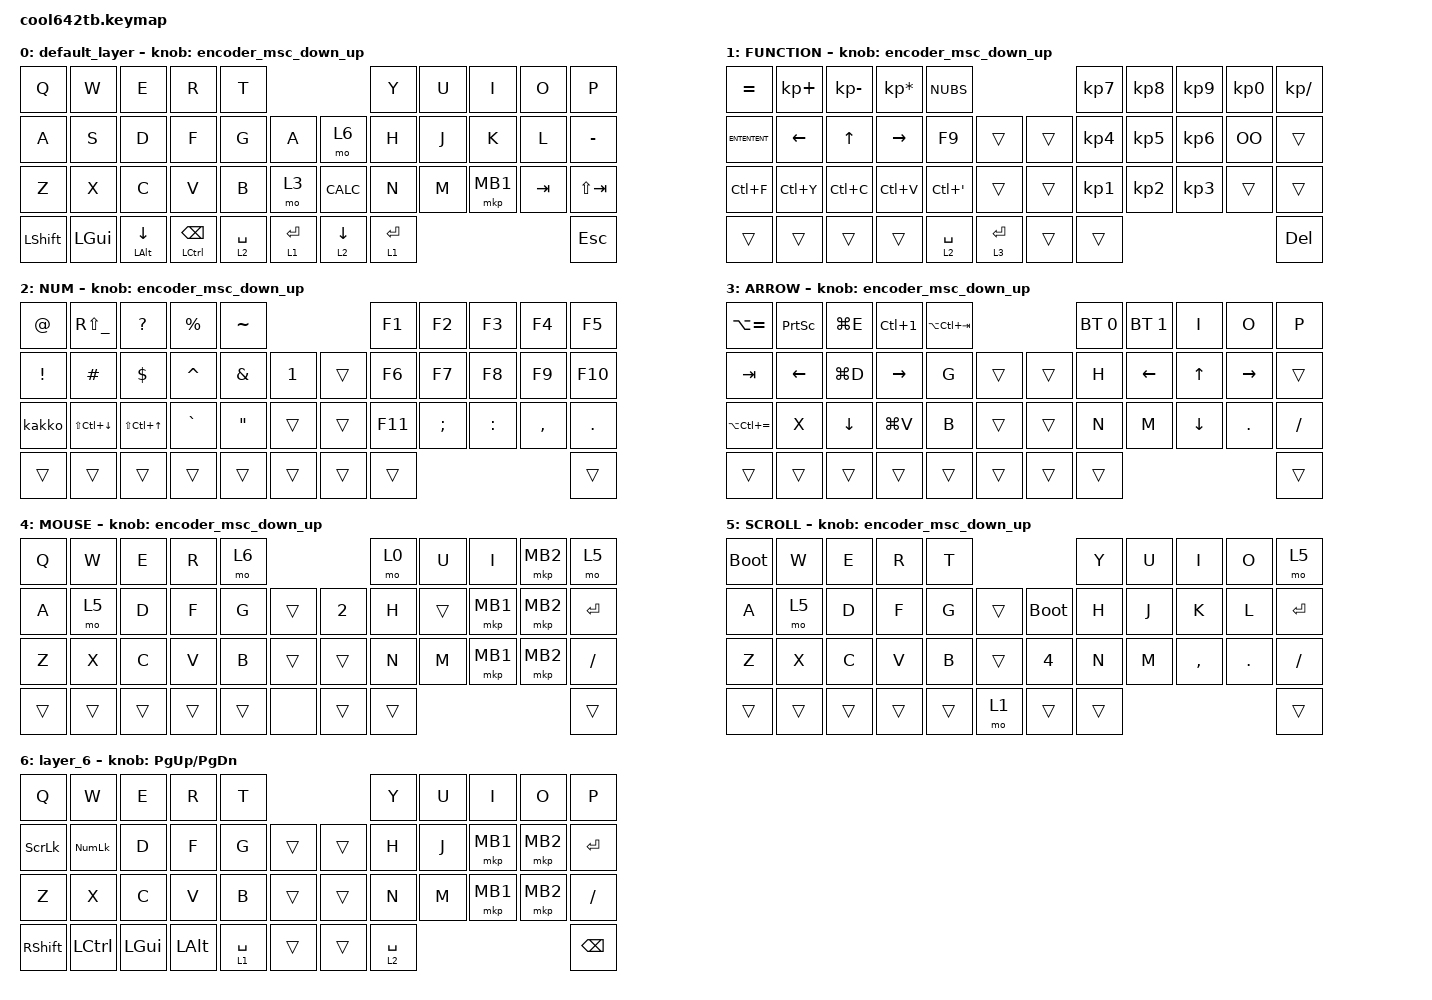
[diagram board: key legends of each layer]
#include <behaviors.dtsi>
#include <dt-bindings/zmk/bt.h>
#include <dt-bindings/zmk/keys.h>
#include <dt-bindings/zmk/pointing.h>

// #includeのあとのあたりにスクロール量変更の定義を追記

#define ZMK_POINTING_DEFAULT_SCRL_VAL 80
#define ZMK_MOUSE_DEFAULT_SCRL_VAL 100
#define MOUSE 4
#define SCROLL 5
#define NUM 6

&mt {
    flavor = "balanced";
    quick-tap-ms = <0>;
};

/ {
    combos {
        compatible = "zmk,combos";

        comb1 {
            bindings = <&kp LS(ESCAPE)>;
            key-positions = <0 1>;
        };

        comb2 {
            bindings = <&kp BACKSPACE>;
            key-positions = <18 7>;
        };

        comb3 {
            bindings = <&kp CAPS>;
            key-positions = <13 14>;
        };

        comb4 {
            bindings = <&kp LA(GRAVE)>;
            key-positions = <3 4>;
        };

        com5 {
            bindings = <&to 1>;
            key-positions = <5 6>;
            slow-release;
            layers = <0>;
        };

        comb6 {
            bindings = <&to 0>;
            key-positions = <5 6>;
            slow-release;
            layers = <1>;
        };

        combo6 {
            bindings = <&kp F2>;
            key-positions = <19 8>;
        };

        combo7 {
            bindings = <&CTHOME>;
            key-positions = <8 9>;
        };

        combo8 {
            bindings = <&CTEND>;
            key-positions = <32 33>;
        };

        combo9 {
            bindings = <&kp DEL>;
            key-positions = <1 2>;
        };

        ASD {
            bindings = <&kp TAB>;
            key-positions = <13 12>;
        };

        TAB2 {
            bindings = <&kp LS(TAB)>;
            key-positions = <18 19>;
        };
    };

    macros {
        to_layer_0: to_layer_0 {
            compatible = "zmk,behavior-macro-one-param";
            #binding-cells = <1>;
            bindings = <&to 0 &macro_param_1to1 &kp MACRO_PLACEHOLDER>;
            label = "TO_LAYER_0";
        };

        ret_kp: ret_kp {
            compatible = "zmk,behavior-macro-one-param";
            #binding-cells = <1>;
            bindings =
                <&to 0 &macro_param_1to1>,
                <&macro_press>,
                <&kp MACRO_PLACEHOLDER>,
                <&macro_pause_for_release>,
                <&macro_param_1to1>,
                <&macro_release>,
                <&kp MACRO_PLACEHOLDER>;

            label = "RET_KP";
        };

        ENTENT: ENTENT {
            compatible = "zmk,behavior-macro";
            #binding-cells = <0>;
            bindings = <&kp ENTER &kp ENTER &kp ENTER &kp ENTER &kp ENTER &kp ENTER>;
            label = "ENTENT";
        };

        OO: OO {
            compatible = "zmk,behavior-macro";
            #binding-cells = <0>;
            bindings = <&kp KP_NUMBER_0 &kp KP_NUMBER_0>;
            label = "OO";
        };

        DBC: new_macro {
            compatible = "zmk,behavior-macro";
            #binding-cells = <0>;
            bindings = <&mkp MB1>, <&macro_wait_time 100>, <&mkp MB1>;

            label = "NEW_MACRO";
        };

        PAV: PAV {
            compatible = "zmk,behavior-macro";
            #binding-cells = <0>;
            bindings = <&kp LA(LC(V)) &kp V &kp ENTER>;
            label = "PAV";
        };

        kakko: kakko {
            compatible = "zmk,behavior-macro";
            #binding-cells = <0>;
            bindings = <&kp LEFT_PARENTHESIS &kp RIGHT_PARENTHESIS &kp LEFT>;
            label = "KAKKO";
        };

        DQ: DQ {
            compatible = "zmk,behavior-macro";
            #binding-cells = <0>;
            bindings = <&kp DOUBLE_QUOTES &kp DOUBLE_QUOTES &kp LEFT>;
            label = "DQ";
        };

        CTHOME: CTHOME {
            compatible = "zmk,behavior-macro";
            #binding-cells = <0>;
            bindings = <&kp LC(HOME)>;
            label = "CTHOME";
        };

        CTEND: CTEND {
            compatible = "zmk,behavior-macro";
            #binding-cells = <0>;
            bindings = <&kp LC(END)>;
            label = "CTEND";
        };

        ENTENTENT: ENTENTENT {
            compatible = "zmk,behavior-macro";
            #binding-cells = <0>;
            bindings = <&kp ENTER &kp ENTER &kp ENTER &kp ENTER &kp ENTER &kp ENTER &kp ENTER>;
            label = "ENTENTENT";
        };

        CALC: CALC {
            compatible = "zmk,behavior-macro";
            #binding-cells = <0>;
            bindings = <&kp LG(NUMBER_1)>;
            label = "CALC";
        };

        SUM: SUM {
            compatible = "zmk,behavior-macro";
            #binding-cells = <0>;
            bindings = <&kp LA(S) &kp U &kp M>;
            label = "SUM";
        };

        ctrlvv: ctrlvv {
            compatible = "zmk,behavior-macro";
            #binding-cells = <0>;
            bindings = <&kp LA(LC(V)) &kp V &kp ENTER>;
            label = "CTRLVV";
        };
    };

    behaviors {
        lt_to_layer_0: lt_to_layer_0 {
            compatible = "zmk,behavior-hold-tap";
            label = "LAYER_TAP_TO_0";
            bindings = <&mo>, <&to_layer_0>;

            #binding-cells = <2>;
            tapping-term-ms = <200>;
        };

        encoder_msc_down_up: encoder_msc_down_up {
            compatible = "zmk,behavior-sensor-rotate";
            label = "ENCODER_MSC_DOWN_UP";
            #sensor-binding-cells = <0>;
            bindings = <&msc SCRL_UP>, <&msc SCRL_DOWN>;

            // カンマで区切る

            tap-ms = <20>;
        };
    };

    keymap {
        compatible = "zmk,keymap";

        default_layer {
            bindings = <
&kp Q      &kp W         &kp E              &kp R                       &kp T                                 &kp Y        &kp U  &kp I     &kp O    &kp P
&kp A      &kp S         &kp D              &kp F                       &kp G        &kp A        &mo 6       &kp H        &kp J  &kp K     &kp L    &kp MINUS
&kp Z      &kp X         &kp C              &kp V                       &kp B        &mo 3        &CALC       &kp N        &kp M  &mkp MB1  &kp TAB  &kp LS(TAB)
&kp LSHFT  &kp LEFT_GUI  &mt LEFT_ALT DOWN  &mt LEFT_CONTROL BACKSPACE  &lt 2 SPACE  &lt 1 ENTER  &lt 2 DOWN  &lt 1 ENTER                            &kp ESCAPE
            >;

            sensor-bindings = <&encoder_msc_down_up>;
        };

        FUNCTION {
            bindings = <
&kp EQUAL   &kp KP_PLUS  &kp KP_MINUS  &kp KP_ASTERISK  &kp NUBS                                   &kp KP_NUMBER_7  &kp KP_NUMBER_8  &kp KP_NUMBER_9  &kp KP_NUMBER_0  &kp KP_SLASH
&ENTENTENT  &kp LEFT     &kp UP_ARROW  &kp RIGHT        &kp F9                &trans       &trans  &kp KP_NUMBER_4  &kp KP_NUMBER_5  &kp KP_NUMBER_6  &OO              &trans
&kp LC(F)   &kp LC(Y)    &kp LC(C)     &kp LC(V)        &kp LC(SINGLE_QUOTE)  &trans       &trans  &kp KP_NUMBER_1  &kp KP_NUMBER_2  &kp KP_NUMBER_3  &trans           &trans
&trans      &trans       &trans        &trans           &lt 2 SPACE           &lt 3 ENTER  &trans  &trans                                                              &kp DELETE
            >;

            sensor-bindings = <&encoder_msc_down_up>;
        };

        NUM {
            bindings = <
&kp AT    &kp RS(UNDER)     &kp QUESTION          &kp PERCENT  &kp TILDE                          &kp F1   &kp F2    &kp F3     &kp F4     &kp F5
&kp EXCL  &kp HASH          &kp DOLLAR            &kp CARET    &kp AMPS           &kp N1  &trans  &kp F6   &kp F7    &kp F8     &kp F9     &kp F10
&kakko    &kp LS(LC(DOWN))  &kp LS(LC(UP_ARROW))  &kp GRAVE    &kp DOUBLE_QUOTES  &trans  &trans  &kp F11  &kp SEMI  &kp COLON  &kp COMMA  &kp DOT
&trans    &trans            &trans                &trans       &trans             &trans  &trans  &trans                                   &trans
            >;

            sensor-bindings = <&encoder_msc_down_up>;
        };

        ARROW {
            bindings = <
&kp LA(EQUAL)      &kp PRINTSCREEN  &kp LG(E)  &kp LC(N1)  &kp LA(LC(TAB))                  &bt BT_SEL 0  &bt BT_SEL 1  &kp I         &kp O       &kp P
&kp TAB            &kp LEFT         &kp LG(D)  &kp RIGHT   &kp G            &trans  &trans  &kp H         &kp LEFT      &kp UP_ARROW  &kp RIGHT   &trans
&kp LA(LC(EQUAL))  &kp X            &kp DOWN   &kp LG(V)   &kp B            &trans  &trans  &kp N         &kp M         &kp DOWN      &kp PERIOD  &kp SLASH
&trans             &trans           &trans     &trans      &trans           &trans  &trans  &trans                                                &trans
            >;

            sensor-bindings = <&encoder_msc_down_up>;
        };

        MOUSE {
            bindings = <
&kp Q   &kp W   &kp E   &kp R   &mo 6                   &mo 0   &kp U   &kp I     &mkp MB2  &mo 5
&kp A   &mo 5   &kp D   &kp F   &kp G   &trans  &kp N2  &kp H   &trans  &mkp MB1  &mkp MB2  &kp ENTER
&kp Z   &kp X   &kp C   &kp V   &kp B   &trans  &trans  &kp N   &kp M   &mkp MB1  &mkp MB2  &kp SLASH
&trans  &trans  &trans  &trans  &trans  &none   &trans  &trans                              &trans
            >;

            sensor-bindings = <&encoder_msc_down_up>;
        };

        SCROLL {
            bindings = <
&bootloader  &kp W   &kp E   &kp R   &kp T                        &kp Y   &kp U  &kp I      &kp O       &mo 5
&kp A        &mo 5   &kp D   &kp F   &kp G   &trans  &bootloader  &kp H   &kp J  &kp K      &kp L       &kp ENTER
&kp Z        &kp X   &kp C   &kp V   &kp B   &trans  &kp N4       &kp N   &kp M  &kp COMMA  &kp PERIOD  &kp SLASH
&trans       &trans  &trans  &trans  &trans  &mo 1   &trans       &trans                                &trans
            >;

            sensor-bindings = <&encoder_msc_down_up>;
        };

        layer_6 {
            bindings = <
&kp Q           &kp W           &kp E     &kp R     &kp T                        &kp Y        &kp U  &kp I     &kp O     &kp P
&kp SCROLLLOCK  &kp KP_NUMLOCK  &kp D     &kp F     &kp G        &trans  &trans  &kp H        &kp J  &mkp MB1  &mkp MB2  &kp ENTER
&kp Z           &kp X           &kp C     &kp V     &kp B        &trans  &trans  &kp N        &kp M  &mkp MB1  &mkp MB2  &kp SLASH
&kp RSHIFT      &kp LCTRL       &kp LGUI  &kp LALT  &lt 1 SPACE  &trans  &trans  &lt 2 SPACE                             &kp BSPC
            >;

            sensor-bindings = <&inc_dec_kp PG_UP PAGE_DOWN>;
        };
    };
};
